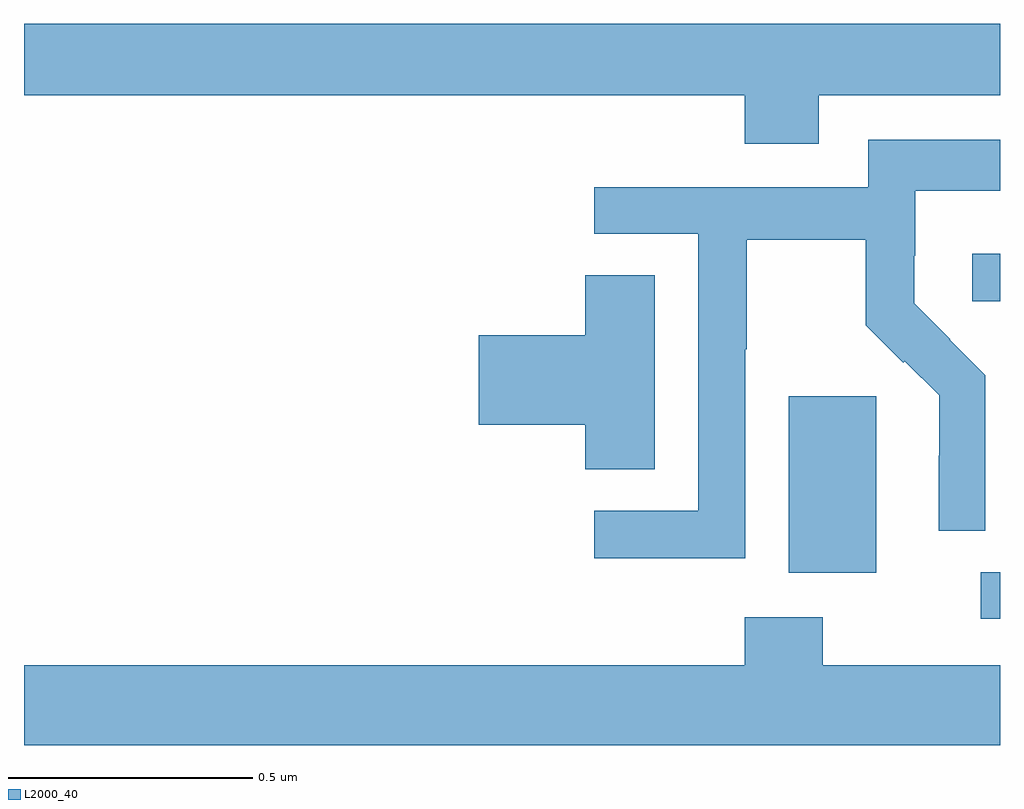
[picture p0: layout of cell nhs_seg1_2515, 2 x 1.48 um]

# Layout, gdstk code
import gdstk
lib = gdstk.Library(unit=1e-6, precision=1e-09)
def R(c, l, rs):  # rectangles x0, y0, x1, y1
    for r in rs: c.add(gdstk.rectangle(r[:2], r[2:], *l))
def P(c, l, *ps):  # polygons
    for p in ps: c.add(gdstk.Polygon(p, *l))
L2000_40 = (2000, 40)

nhs_seg1_2515 = lib.new_cell('nhs_seg1_2515')
R(nhs_seg1_2515, L2000_40, [(143.961,563.979,144,564.075), (143.567,564.074,143.746,564.435), (143.943,564.63,144,564.727)])
P(nhs_seg1_2515, L2000_40, [(143.629,565.052),(144,565.052),(144,565.199),(142,565.199),(142,565.052),(143.477,565.052),(143.477,564.953),(143.629,564.953)],
  [(143.478,564.532),(143.481,564.532),(143.481,564.756),(143.725,564.756),(143.725,564.581),(143.802,564.504),(143.805,564.507),(143.876,564.437),(143.876,564.314),(143.874,564.314),(143.874,564.16),(143.97,564.16),(143.97,564.478),(143.897,564.551),(143.898,564.552),(143.824,564.626),(143.824,564.723),(143.826,564.723),(143.826,564.857),(144,564.857),(144,564.961),(143.73,564.961),(143.73,564.864),(143.169,564.864),(143.169,564.768),(143.382,564.768),(143.382,564.201),(143.169,564.201),(143.169,564.103),(143.478,564.103)],
  [(143.293,564.683),(143.15,564.683),(143.15,564.56),(142.932,564.56),(142.932,564.377),(143.15,564.377),(143.15,564.286),(143.293,564.286)],
  [(144,563.884),(143.637,563.884),(143.637,563.983),(143.477,563.983),(143.477,563.884),(142,563.884),(142,563.72),(144,563.72)])

lib.write_gds('nhs_seg1_2515.gds')
